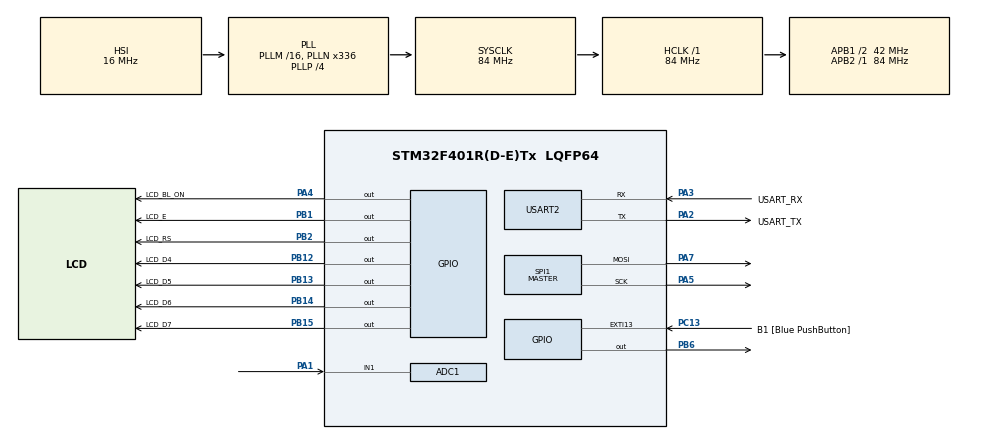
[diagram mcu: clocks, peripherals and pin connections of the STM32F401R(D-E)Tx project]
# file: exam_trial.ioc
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ADC1.Channel-0\#ChannelRegularConversion=ADC_CHANNEL_1
ADC1.ExternalTrigConv=ADC_EXTERNALTRIGCONV_T2_TRGO
ADC1.NbrOfConversionFlag=1
ADC1.Rank-0\#ChannelRegularConversion=1
ADC1.SamplingTime-0\#ChannelRegularConversion=ADC_SAMPLETIME_480CYCLES
ADC1.master=1
Dma.Request0=SPI1_TX
Dma.SPI1_TX.0.Direction=DMA_MEMORY_TO_PERIPH
Dma.SPI1_TX.0.FIFOMode=DMA_FIFOMODE_DISABLE
Dma.SPI1_TX.0.Instance=DMA2_Stream3
Dma.SPI1_TX.0.MemDataAlignment=DMA_MDATAALIGN_BYTE
Dma.SPI1_TX.0.MemInc=DMA_MINC_ENABLE
Dma.SPI1_TX.0.Mode=DMA_NORMAL
Dma.SPI1_TX.0.PeriphDataAlignment=DMA_PDATAALIGN_BYTE
Dma.SPI1_TX.0.PeriphInc=DMA_PINC_DISABLE
Dma.SPI1_TX.0.Priority=DMA_PRIORITY_LOW
Mcu.Family=STM32F4
Mcu.Name=STM32F401R(D-E)Tx
Mcu.Package=LQFP64
NVIC.ADC_IRQn=true\:0\:0\:false\:false\:true\:true\:true\:true
NVIC.DMA2_Stream3_IRQn=true\:0\:0\:false\:false\:true\:false\:true\:true
NVIC.PriorityGroup=NVIC_PRIORITYGROUP_0
NVIC.SPI1_IRQn=true\:0\:0\:false\:false\:true\:true\:true\:true
NVIC.TIM1_UP_TIM10_IRQn=true\:0\:0\:false\:false\:true\:true\:true\:true
NVIC.TIM2_IRQn=true\:0\:0\:false\:false\:true\:true\:true\:true
PA1.Signal=ADCx_IN1
PA13.GPIO_Label=TMS
PA13.Mode=Serial_Wire
PA13.Signal=SYS_JTMS-SWDIO
PA14.GPIO_Label=TCK
PA14.Mode=Serial_Wire
PA14.Signal=SYS_JTCK-SWCLK
PA2.GPIO_Label=USART_TX
PA2.GPIO_Mode=GPIO_MODE_AF_PP
PA2.GPIO_PuPd=GPIO_NOPULL
PA2.GPIO_Speed=GPIO_SPEED_FREQ_LOW
PA2.Mode=Asynchronous
PA2.Signal=USART2_TX
PA3.GPIO_Label=USART_RX
PA3.GPIO_Mode=GPIO_MODE_AF_PP
PA3.GPIO_PuPd=GPIO_NOPULL
PA3.GPIO_Speed=GPIO_SPEED_FREQ_LOW
PA3.Mode=Asynchronous
PA3.Signal=USART2_RX
PA4.GPIO_Label=LCD_BL_ON
PA4.Signal=GPIO_Output
PA5.Mode=TX_Only_Simplex_Unidirect_Master
PA5.Signal=SPI1_SCK
PA7.Mode=TX_Only_Simplex_Unidirect_Master
PA7.Signal=SPI1_MOSI
PB1.GPIO_Label=LCD_E
PB1.Signal=GPIO_Output
PB12.GPIO_Label=LCD_D4
PB12.Signal=GPIO_Output
PB13.GPIO_Label=LCD_D5
PB13.Signal=GPIO_Output
PB14.GPIO_Label=LCD_D6
PB14.Signal=GPIO_Output
PB15.GPIO_Label=LCD_D7
PB15.Signal=GPIO_Output
PB2.GPIO_Label=LCD_RS
PB2.Signal=GPIO_Output
PB3.GPIO_Label=SWO
PB3.Signal=SYS_JTDO-SWO
PB6.Signal=GPIO_Output
PC13-ANTI_TAMP.GPIO_Label=B1 [Blue PushButton]
PC13-ANTI_TAMP.GPIO_ModeDefaultEXTI=GPIO_MODE_IT_FALLING
PC13-ANTI_TAMP.GPIO_PuPd=GPIO_NOPULL
PC13-ANTI_TAMP.Signal=GPXTI13
PC14-OSC32_IN.Mode=LSE-External-Oscillator
PC14-OSC32_IN.Signal=RCC_OSC32_IN
PC15-OSC32_OUT.Mode=LSE-External-Oscillator
PC15-OSC32_OUT.Signal=RCC_OSC32_OUT
PH0\ -\ OSC_IN.Mode=HSE-External-Clock-Source
PH0\ -\ OSC_IN.Signal=RCC_OSC_IN
PH1\ -\ OSC_OUT.Mode=HSE-External-Clock-Source
PH1\ -\ OSC_OUT.Signal=RCC_OSC_OUT
ProjectManager.HeapSize=0x200
ProjectManager.StackSize=0x400
ProjectManager.TargetToolchain=STM32CubeIDE
RCC.48MHZClocksFreq_Value=48000000
RCC.AHBFreq_Value=84000000
RCC.APB1CLKDivider=RCC_HCLK_DIV2
RCC.APB1Freq_Value=42000000
RCC.APB1TimFreq_Value=84000000
RCC.APB2Freq_Value=84000000
RCC.APB2TimFreq_Value=84000000
RCC.CortexFreq_Value=84000000
RCC.HCLKFreq_Value=84000000
RCC.HSE_VALUE=8000000
RCC.HSI_VALUE=16000000
RCC.PLLN=336
RCC.PLLP=RCC_PLLP_DIV4
RCC.PLLQ=7
RCC.SYSCLKFreq_VALUE=84000000
RCC.SYSCLKSource=RCC_SYSCLKSOURCE_PLLCLK
RCC.VCOOutputFreq_Value=336000000
SH.ADCx_IN1.0=ADC1_IN1,IN1
SPI1.BaudRatePrescaler=SPI_BAUDRATEPRESCALER_4
SPI1.Direction=SPI_DIRECTION_2LINES
SPI1.Mode=SPI_MODE_MASTER
SPI1.VirtualType=VM_MASTER
TIM1.Period=2999
TIM1.Prescaler=8399
TIM2.Period=4999
TIM2.Prescaler=8399
TIM2.TIM_MasterOutputTrigger=TIM_TRGO_UPDATE
USART2.VirtualMode=VM_ASYNC
VP_TIM1_VS_ClockSourceINT.Mode=Internal
VP_TIM2_VS_ClockSourceINT.Mode=Internal
board=NUCLEO-F401RE

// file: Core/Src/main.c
/* USER CODE BEGIN Header */
/**
  ******************************************************************************
  * @file           : main.c
  * @brief          : Main program body
  ******************************************************************************
  * @attention
  *
  * Copyright (c) 2024 STMicroelectronics.
  * All rights reserved.
  *
  * This software is licensed under terms that can be found in the LICENSE file
  * in the root directory of this software component.
  * If no LICENSE file comes with this software, it is provided AS-IS.
  *
  ******************************************************************************
  */
/* USER CODE END Header */
#include "main.h"

/* USER CODE BEGIN Includes */
#include <stdio.h>
#include <string.h>
#include "PMDB16_LCD.h"
/* USER CODE END Includes */

ADC_HandleTypeDef hadc1;

SPI_HandleTypeDef hspi1;
DMA_HandleTypeDef hdma_spi1_tx;

TIM_HandleTypeDef htim1;
TIM_HandleTypeDef htim2;

UART_HandleTypeDef huart2;

void SystemClock_Config(void);
static void MX_GPIO_Init(void);
static void MX_DMA_Init(void);
static void MX_USART2_UART_Init(void);
static void MX_ADC1_Init(void);
static void MX_TIM2_Init(void);
static void MX_SPI1_Init(void);
static void MX_TIM1_Init(void);

/* USER CODE BEGIN 0 */
uint32_t value;	 //digital value read from ADC
float voltage, prev_voltage = 1.5;   //variable to contain voltage on ADC, calculated from value
char string[64]; //string to be sent through UART
uint16_t length; //length of string
uint8_t spi_data[2] = {127, 31};
uint8_t empty_data[2] = {0, 0};
int blink_mode;
/* USER CODE END 0 */

int main(void)
{

  /* MCU Configuration--------------------------------------------------------*/

  /* Reset of all peripherals, Initializes the Flash interface and the Systick. */
  HAL_Init();

  /* Configure the system clock */
  SystemClock_Config();

  /* Initialize all configured peripherals */
  MX_GPIO_Init();
  MX_DMA_Init();
  MX_USART2_UART_Init();
  MX_ADC1_Init();
  MX_TIM2_Init();
  MX_SPI1_Init();
  MX_TIM1_Init();
  /* USER CODE BEGIN 2 */
  lcd_initialize();
  lcd_backlight_ON();
  HAL_TIM_Base_Start(&htim2);
  HAL_ADC_Start_IT(&hadc1);
  /* USER CODE END 2 */

  /* Infinite loop */
  while (1)
  {

  }
}

void SystemClock_Config(void)
{
  RCC_OscInitTypeDef RCC_OscInitStruct = {0};
  RCC_ClkInitTypeDef RCC_ClkInitStruct = {0};

  /** Configure the main internal regulator output voltage
  */
  __HAL_RCC_PWR_CLK_ENABLE();
  __HAL_PWR_VOLTAGESCALING_CONFIG(PWR_REGULATOR_VOLTAGE_SCALE2);

  /** Initializes the RCC Oscillators according to the specified parameters
  * in the RCC_OscInitTypeDef structure.
  */
  RCC_OscInitStruct.OscillatorType = RCC_OSCILLATORTYPE_HSI;
  RCC_OscInitStruct.HSIState = RCC_HSI_ON;
  RCC_OscInitStruct.HSICalibrationValue = RCC_HSICALIBRATION_DEFAULT;
  RCC_OscInitStruct.PLL.PLLState = RCC_PLL_ON;
  RCC_OscInitStruct.PLL.PLLSource = RCC_PLLSOURCE_HSI;
  RCC_OscInitStruct.PLL.PLLM = 16;
  RCC_OscInitStruct.PLL.PLLN = 336;
  RCC_OscInitStruct.PLL.PLLP = RCC_PLLP_DIV4;
  RCC_OscInitStruct.PLL.PLLQ = 7;
  if (HAL_RCC_OscConfig(&RCC_OscInitStruct) != HAL_OK)
  {
    Error_Handler();
  }

  /** Initializes the CPU, AHB and APB buses clocks
  */
  RCC_ClkInitStruct.ClockType = RCC_CLOCKTYPE_HCLK|RCC_CLOCKTYPE_SYSCLK
                              |RCC_CLOCKTYPE_PCLK1|RCC_CLOCKTYPE_PCLK2;
  RCC_ClkInitStruct.SYSCLKSource = RCC_SYSCLKSOURCE_PLLCLK;
  RCC_ClkInitStruct.AHBCLKDivider = RCC_SYSCLK_DIV1;
  RCC_ClkInitStruct.APB1CLKDivider = RCC_HCLK_DIV2;
  RCC_ClkInitStruct.APB2CLKDivider = RCC_HCLK_DIV1;

  if (HAL_RCC_ClockConfig(&RCC_ClkInitStruct, FLASH_LATENCY_2) != HAL_OK)
  {
    Error_Handler();
  }
}

static void MX_ADC1_Init(void)
{

  ADC_ChannelConfTypeDef sConfig = {0};

  /** Configure the global features of the ADC (Clock, Resolution, Data Alignment and number of conversion)
  */
  hadc1.Instance = ADC1;
  hadc1.Init.ClockPrescaler = ADC_CLOCK_SYNC_PCLK_DIV4;
  hadc1.Init.Resolution = ADC_RESOLUTION_12B;
  hadc1.Init.ScanConvMode = DISABLE;
  hadc1.Init.ContinuousConvMode = DISABLE;
  hadc1.Init.DiscontinuousConvMode = DISABLE;
  hadc1.Init.ExternalTrigConvEdge = ADC_EXTERNALTRIGCONVEDGE_RISING;
  hadc1.Init.ExternalTrigConv = ADC_EXTERNALTRIGCONV_T2_TRGO;
  hadc1.Init.DataAlign = ADC_DATAALIGN_RIGHT;
  hadc1.Init.NbrOfConversion = 1;
  hadc1.Init.DMAContinuousRequests = DISABLE;
  hadc1.Init.EOCSelection = ADC_EOC_SINGLE_CONV;
  if (HAL_ADC_Init(&hadc1) != HAL_OK)
  {
    Error_Handler();
  }

  /** Configure for the selected ADC regular channel its corresponding rank in the sequencer and its sample time.
  */
  sConfig.Channel = ADC_CHANNEL_1;
  sConfig.Rank = 1;
  sConfig.SamplingTime = ADC_SAMPLETIME_480CYCLES;
  if (HAL_ADC_ConfigChannel(&hadc1, &sConfig) != HAL_OK)
  {
    Error_Handler();
  }

}

static void MX_SPI1_Init(void)
{

  /* SPI1 parameter configuration*/
  hspi1.Instance = SPI1;
  hspi1.Init.Mode = SPI_MODE_MASTER;
  hspi1.Init.Direction = SPI_DIRECTION_2LINES;
  hspi1.Init.DataSize = SPI_DATASIZE_8BIT;
  hspi1.Init.CLKPolarity = SPI_POLARITY_LOW;
  hspi1.Init.CLKPhase = SPI_PHASE_1EDGE;
  hspi1.Init.NSS = SPI_NSS_SOFT;
  hspi1.Init.BaudRatePrescaler = SPI_BAUDRATEPRESCALER_4;
  hspi1.Init.FirstBit = SPI_FIRSTBIT_MSB;
  hspi1.Init.TIMode = SPI_TIMODE_DISABLE;
  hspi1.Init.CRCCalculation = SPI_CRCCALCULATION_DISABLE;
  hspi1.Init.CRCPolynomial = 10;
  if (HAL_SPI_Init(&hspi1) != HAL_OK)
  {
    Error_Handler();
  }

}

static void MX_TIM1_Init(void)
{

  TIM_ClockConfigTypeDef sClockSourceConfig = {0};
  TIM_MasterConfigTypeDef sMasterConfig = {0};

  htim1.Instance = TIM1;
  htim1.Init.Prescaler = 8399;
  htim1.Init.CounterMode = TIM_COUNTERMODE_UP;
  htim1.Init.Period = 2999;
  htim1.Init.ClockDivision = TIM_CLOCKDIVISION_DIV1;
  htim1.Init.RepetitionCounter = 0;
  htim1.Init.AutoReloadPreload = TIM_AUTORELOAD_PRELOAD_DISABLE;
  if (HAL_TIM_Base_Init(&htim1) != HAL_OK)
  {
    Error_Handler();
  }
  sClockSourceConfig.ClockSource = TIM_CLOCKSOURCE_INTERNAL;
  if (HAL_TIM_ConfigClockSource(&htim1, &sClockSourceConfig) != HAL_OK)
  {
    Error_Handler();
  }
  sMasterConfig.MasterOutputTrigger = TIM_TRGO_RESET;
  sMasterConfig.MasterSlaveMode = TIM_MASTERSLAVEMODE_DISABLE;
  if (HAL_TIMEx_MasterConfigSynchronization(&htim1, &sMasterConfig) != HAL_OK)
  {
    Error_Handler();
  }

}

static void MX_TIM2_Init(void)
{

  TIM_ClockConfigTypeDef sClockSourceConfig = {0};
  TIM_MasterConfigTypeDef sMasterConfig = {0};

  htim2.Instance = TIM2;
  htim2.Init.Prescaler = 8399;
  htim2.Init.CounterMode = TIM_COUNTERMODE_UP;
  htim2.Init.Period = 4999;
  htim2.Init.ClockDivision = TIM_CLOCKDIVISION_DIV1;
  htim2.Init.AutoReloadPreload = TIM_AUTORELOAD_PRELOAD_DISABLE;
  if (HAL_TIM_Base_Init(&htim2) != HAL_OK)
  {
    Error_Handler();
  }
  sClockSourceConfig.ClockSource = TIM_CLOCKSOURCE_INTERNAL;
  if (HAL_TIM_ConfigClockSource(&htim2, &sClockSourceConfig) != HAL_OK)
  {
    Error_Handler();
  }
  sMasterConfig.MasterOutputTrigger = TIM_TRGO_UPDATE;
  sMasterConfig.MasterSlaveMode = TIM_MASTERSLAVEMODE_DISABLE;
  if (HAL_TIMEx_MasterConfigSynchronization(&htim2, &sMasterConfig) != HAL_OK)
  {
    Error_Handler();
  }

}

static void MX_USART2_UART_Init(void)
{

  huart2.Instance = USART2;
  huart2.Init.BaudRate = 115200;
  huart2.Init.WordLength = UART_WORDLENGTH_8B;
  huart2.Init.StopBits = UART_STOPBITS_1;
  huart2.Init.Parity = UART_PARITY_NONE;
  huart2.Init.Mode = UART_MODE_TX_RX;
  huart2.Init.HwFlowCtl = UART_HWCONTROL_NONE;
  huart2.Init.OverSampling = UART_OVERSAMPLING_16;
  if (HAL_UART_Init(&huart2) != HAL_OK)
  {
    Error_Handler();
  }

}

static void MX_DMA_Init(void)
{

  /* DMA controller clock enable */
  __HAL_RCC_DMA2_CLK_ENABLE();

  /* DMA interrupt init */
  /* DMA2_Stream3_IRQn interrupt configuration */
  HAL_NVIC_SetPriority(DMA2_Stream3_IRQn, 0, 0);
  HAL_NVIC_EnableIRQ(DMA2_Stream3_IRQn);

}

static void MX_GPIO_Init(void)
{
  GPIO_InitTypeDef GPIO_InitStruct = {0};

  /* GPIO Ports Clock Enable */
  __HAL_RCC_GPIOC_CLK_ENABLE();
  __HAL_RCC_GPIOH_CLK_ENABLE();
  __HAL_RCC_GPIOA_CLK_ENABLE();
  __HAL_RCC_GPIOB_CLK_ENABLE();

  /*Configure GPIO pin Output Level */
  HAL_GPIO_WritePin(LCD_BL_ON_GPIO_Port, LCD_BL_ON_Pin, GPIO_PIN_RESET);

  /*Configure GPIO pin Output Level */
  HAL_GPIO_WritePin(GPIOB, LCD_E_Pin|LCD_RS_Pin|LCD_D4_Pin|LCD_D5_Pin
                          |LCD_D6_Pin|LCD_D7_Pin|GPIO_PIN_6, GPIO_PIN_RESET);

  /*Configure GPIO pin : B1_Pin */
  GPIO_InitStruct.Pin = B1_Pin;
  GPIO_InitStruct.Mode = GPIO_MODE_IT_FALLING;
  GPIO_InitStruct.Pull = GPIO_NOPULL;
  HAL_GPIO_Init(B1_GPIO_Port, &GPIO_InitStruct);

  /*Configure GPIO pin : LCD_BL_ON_Pin */
  GPIO_InitStruct.Pin = LCD_BL_ON_Pin;
  GPIO_InitStruct.Mode = GPIO_MODE_OUTPUT_PP;
  GPIO_InitStruct.Pull = GPIO_NOPULL;
  GPIO_InitStruct.Speed = GPIO_SPEED_FREQ_LOW;
  HAL_GPIO_Init(LCD_BL_ON_GPIO_Port, &GPIO_InitStruct);

  /*Configure GPIO pins : LCD_E_Pin LCD_RS_Pin LCD_D4_Pin LCD_D5_Pin
                           LCD_D6_Pin LCD_D7_Pin PB6 */
  GPIO_InitStruct.Pin = LCD_E_Pin|LCD_RS_Pin|LCD_D4_Pin|LCD_D5_Pin
                          |LCD_D6_Pin|LCD_D7_Pin|GPIO_PIN_6;
  GPIO_InitStruct.Mode = GPIO_MODE_OUTPUT_PP;
  GPIO_InitStruct.Pull = GPIO_NOPULL;
  GPIO_InitStruct.Speed = GPIO_SPEED_FREQ_LOW;
  HAL_GPIO_Init(GPIOB, &GPIO_InitStruct);

}

/* USER CODE BEGIN 4 */

void HAL_TIM_PeriodElapsedCallback(TIM_HandleTypeDef *htim) {
	if (htim->Instance == TIM1) {
		if (blink_mode == 0) {
			HAL_SPI_Transmit_DMA(&hspi1, empty_data, 2);
			HAL_TIM_Base_Stop_IT(&htim1);
		} else if (blink_mode == 2){
			HAL_SPI_Transmit_DMA(&hspi1, empty_data, 2);
			blink_mode--;
		} else {
			HAL_SPI_Transmit_DMA(&hspi1, spi_data, 2);
			blink_mode--;
		}
	}
}

void HAL_ADC_ConvCpltCallback(ADC_HandleTypeDef* hadc) {
	if (hadc->Instance == ADC1) {
		value = HAL_ADC_GetValue(&hadc1);
		voltage = value * 3.3/4096.0; // convert digital value to voltage

		if (prev_voltage >= 0.5 && voltage < 0.5) {
			blink_mode = 0;
			HAL_TIM_Base_Start_IT(&htim1);
			HAL_SPI_Transmit_DMA(&hspi1, spi_data, 2);
		} else if (prev_voltage <= 2.8 && voltage > 2.8) {
			blink_mode = 2;
			HAL_TIM_Base_Start_IT(&htim1);
			HAL_SPI_Transmit_DMA(&hspi1, spi_data, 2);
		}

		length = snprintf(string, sizeof(string), "Voltage: %.3f", voltage);
		lcd_println(string, 0);
		lcd_drawBar(value/4096.0*80.0);
		prev_voltage = voltage;
	}
}

void HAL_SPI_TxCpltCallback(SPI_HandleTypeDef *hspi) {
	HAL_GPIO_WritePin(GPIOB, GPIO_PIN_6, GPIO_PIN_SET);		// set and quickly reset RCLK to send data from serial registers to LED matrix
	HAL_GPIO_WritePin(GPIOB, GPIO_PIN_6, GPIO_PIN_RESET);
}

/* USER CODE END 4 */

void Error_Handler(void)
{
  __disable_irq();
  while (1)
  {
  }
}
